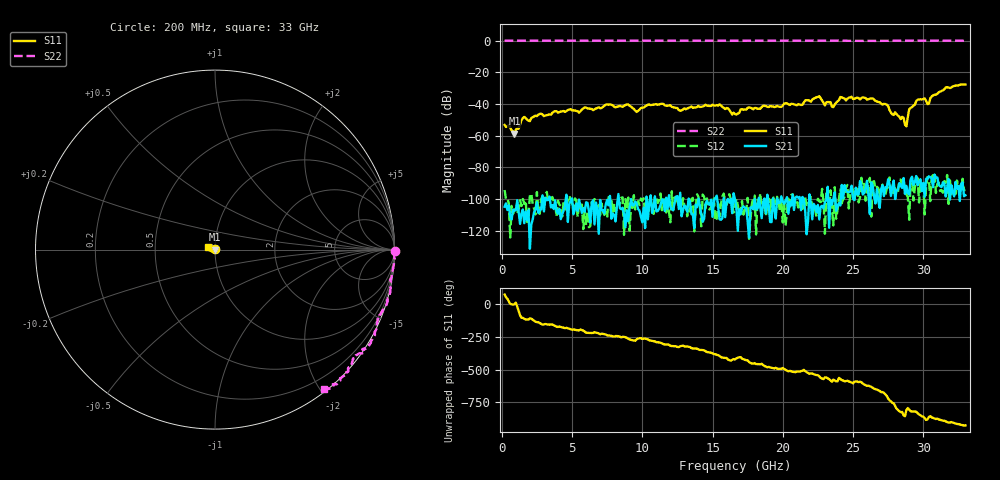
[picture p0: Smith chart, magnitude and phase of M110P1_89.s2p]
# GHZ S RI R 50
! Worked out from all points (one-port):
!   329 points, 200 MHz to 33 GHz, reference 50 ohm
!   lowest |S11| = -58.9 dB at 900 MHz (marker M1), VSWR 1.00, Z = 50.1 - j0.00463 ohm
!   |S11| at or under -10 dB: start of sweep to end of sweep
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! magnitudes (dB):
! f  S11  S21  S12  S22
! 200 MHz  -53.2  -105.0  -94.4  0.0
! 900 MHz  -58.9  -107.5  -106.7  0.0
! 1.6 GHz  -48.2  -115.4  -103.3  0.0
! 5.7 GHz  -43.6  -108.9  -103.6  -0.1
! 8.9 GHz  -40.3  -107.3  -105.7  0.0
! 9.6 GHz  -45.1  -102.8  -102.9  0.0
! 11.2 GHz  -40.3  -106.2  -101.0  0.0
! 12.7 GHz  -44.3  -96.1  -100.0  0.0
! 15.5 GHz  -40.3  -112.9  -111.1  -0.1
! 16.6 GHz  -46.4  -100.3  -105.1  -0.1
! 22.1 GHz  -37.3  -113.0  -105.7  0.1
! 23.6 GHz  -42.0  -99.9  -116.8  0.0
! 24.1 GHz  -35.6  -104.3  -94.0  0.0
! 26.4 GHz  -36.5  -91.5  -89.3  -0.2
! 27.6 GHz  -43.8  -90.6  -86.5  -0.1
! 28.6 GHz  -48.7  -86.9  -87.0  -0.1
! 28.8 GHz  -54.2  -91.8  -97.2  0.0
! 29 GHz  -43.4  -97.3  -113.3  0.1
! 29.6 GHz  -37.4  -91.5  -86.8  0.1
! 30.4 GHz  -39.9  -85.7  -86.6  0.1
! 31.6 GHz  -29.6  -98.5  -89.7  0.0
! 33 GHz  -27.8  -97.7  -94.4  -0.1
